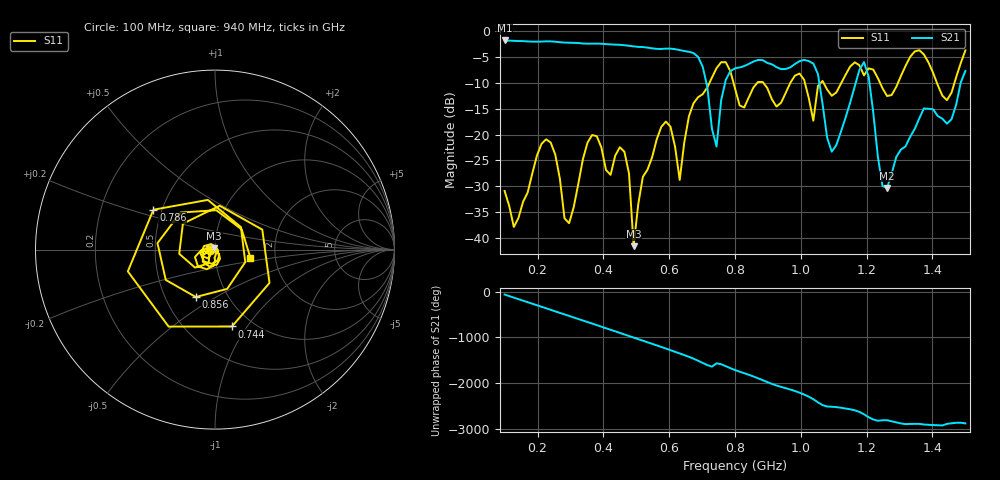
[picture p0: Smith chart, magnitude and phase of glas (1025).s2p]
! NanoVNA-App
! Date: 2025-09-25 16:03:27
! Start: 100MHz Stop: 1,5GHz Points: 101
! S-Parameter data: F S11 S21 S12 S22
# Hz S RI R 50
!  Frequency  S11_Real  S11_Imag  S21_Real  S21_Imag  S12_Real  S12_Imag  S22_Real  S22_Imag
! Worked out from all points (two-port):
!   101 points, 100 MHz to 1.5 GHz, reference 50 ohm
!   highest |S21| = -1.80 dB at 100 MHz (marker M1); lowest = -30.4 dB at 1.262 GHz (marker M2)
!   |S21| within 3 dB of the highest: start of sweep to 684.5 MHz
!   lowest |S11| = -41.6 dB at 492 MHz (marker M3), VSWR 1.02, Z = 49.5 + j0.642 ohm
!   |S11| at or under -10 dB: start of sweep to 722.4 MHz; 795.5 MHz to 867.9 MHz (72.39 MHz wide, 8.7 % of centre); 886 MHz to 968.1 MHz (82.04 MHz wide, 8.85 % of centre) (the widest 3 of 7)
!   S12 and S22 are empty: the file has one direction only
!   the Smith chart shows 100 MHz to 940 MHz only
!   S11 on the Smith chart (normalised r, x): 100 MHz: 0.94, -0.01; 744 MHz: 0.80, -0.85; 786 MHz: 0.45, +0.24; 856 MHz: 0.71, -0.41; 940 MHz: 1.48, -0.15
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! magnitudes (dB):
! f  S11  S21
! 100 MHz  -30.9  -1.8
! 128 MHz  -37.9  -1.9
! 226 MHz  -20.9  -2.0
! 296 MHz  -37.1  -2.2
! 338 MHz  -24.7  -2.4
! 464 MHz  -23.3  -2.7
! 492 MHz  -41.6  -2.9
! 576 MHz  -18.5  -3.4
! 632 MHz  -28.8  -3.7
! 702 MHz  -12.2  -6.9
! 744 MHz  -7.2  -22.3
! 786 MHz  -7.8  -7.7
! 800 MHz  -11.1  -7.2
! 856 MHz  -10.9  -5.9
! 940 MHz  -13.8  -7.3
! 996 MHz  -8.2  -5.8
! 1.038 GHz  -17.3  -6.3
! 1.094 GHz  -12.5  -23.3
! 1.192 GHz  -8.6  -6.0
! 1.262 GHz  -12.6  -30.4
! 1.276 GHz  -12.4  -27.5
! 1.5 GHz  -3.7  -7.7
